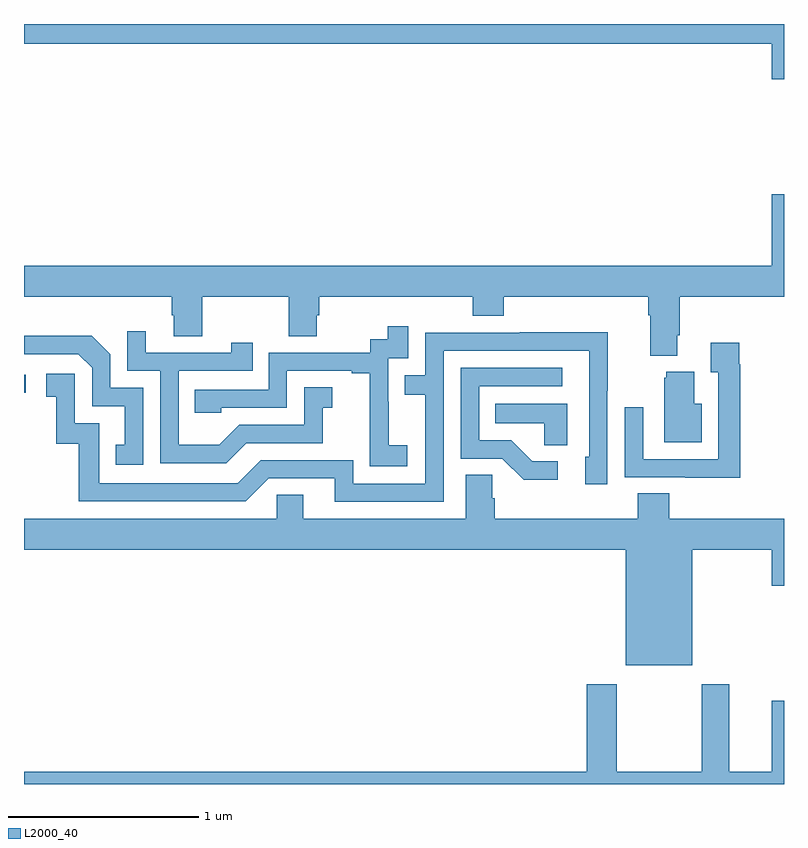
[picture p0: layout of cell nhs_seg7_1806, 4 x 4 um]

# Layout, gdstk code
import gdstk
lib = gdstk.Library(unit=1e-6, precision=1e-09)
def R(c, l, rs):  # rectangles x0, y0, x1, y1
    for r in rs: c.add(gdstk.rectangle(r[:2], r[2:], *l))
def P(c, l, *ps):  # polygons
    for p in ps: c.add(gdstk.Polygon(p, *l))
L2000_40 = (2000, 40)

nhs_seg7_1806 = lib.new_cell('nhs_seg7_1806')
R(nhs_seg7_1806, L2000_40, [(233,1052.058,233.008,1052.154)])
P(nhs_seg7_1806, L2000_40, [(237,1054),(233,1054),(233,1053.896),(236.936,1053.896),(236.936,1053.708),(237,1053.708)],
  [(236.437,1052.362),(236.45,1052.362),(236.45,1052.564),(237,1052.564),(237,1053.103),(236.936,1053.103),(236.936,1052.728),(233,1052.728),(233,1052.564),(233.777,1052.564),(233.777,1052.466),(233.789,1052.466),(233.789,1052.356),(233.937,1052.356),(233.937,1052.564),(234.394,1052.564),(234.394,1052.356),(234.541,1052.356),(234.541,1052.466),(234.554,1052.466),(234.554,1052.564),(235.361,1052.564),(235.361,1052.465),(235.526,1052.465),(235.526,1052.564),(236.285,1052.564),(236.285,1052.468),(236.297,1052.468),(236.297,1052.255),(236.437,1052.255)],
  [(235.018,1051.783),(234.92,1051.783),(234.92,1052.012),(234.918,1052.012),(234.918,1052.241),(235.023,1052.241),(235.023,1052.41),(234.915,1052.41),(234.915,1052.34),(234.822,1052.34),(234.822,1052.271),(234.288,1052.271),(234.288,1052.076),(233.899,1052.076),(233.899,1051.953),(234.039,1051.953),(234.039,1051.98),(234.384,1051.98),(234.384,1052.175),(234.725,1052.175),(234.725,1052.163),(234.821,1052.163),(234.821,1051.879),(234.82,1051.879),(234.82,1051.673),(235.018,1051.673)],
  [(234.169,1051.794),(234.573,1051.794),(234.573,1051.979),(234.622,1051.979),(234.622,1052.089),(234.474,1052.089),(234.474,1051.89),(234.132,1051.89),(234.028,1051.786),(233.814,1051.786),(233.814,1052.175),(234.203,1052.175),(234.203,1052.323),(234.092,1052.323),(234.092,1052.271),(233.641,1052.271),(233.641,1052.383),(233.544,1052.383),(233.544,1052.175),(233.718,1052.175),(233.718,1051.689),(234.064,1051.689)],
  [(235.209,1052.28),(235.974,1052.28),(235.974,1051.722),(235.955,1051.722),(235.955,1051.578),(236.07,1051.578),(236.07,1052.071),(236.073,1052.071),(236.073,1052.378),(235.609,1052.378),(235.609,1052.376),(235.113,1052.376),(235.113,1052.151),(235.003,1052.151),(235.003,1052.05),(235.113,1052.05),(235.113,1051.581),(234.732,1051.581),(234.732,1051.704),(234.246,1051.704),(234.126,1051.584),(233.397,1051.584),(233.397,1051.899),(233.268,1051.899),(233.268,1052.158),(233.118,1052.158),(233.118,1052.037),(233.171,1052.037),(233.171,1051.791),(233.289,1051.791),(233.289,1051.488),(234.168,1051.488),(234.288,1051.608),(234.635,1051.608),(234.635,1051.485),(235.209,1051.485)],
  [(233.628,1052.085),(233.454,1052.085),(233.454,1052.262),(233.356,1052.36),(233,1052.36),(233,1052.262),(233.286,1052.262),(233.358,1052.19),(233.358,1051.989),(233.531,1051.989),(233.531,1051.785),(233.482,1051.785),(233.482,1051.68),(233.628,1051.68)],
  [(236.771,1052.21),(236.764,1052.21),(236.764,1052.323),(236.615,1052.323),(236.615,1052.167),(236.655,1052.167),(236.655,1051.71),(236.259,1051.71),(236.259,1051.984),(236.163,1051.984),(236.163,1051.614),(236.479,1051.614),(236.479,1051.613),(236.771,1051.613)],
  [(235.81,1051.698),(235.675,1051.698),(235.564,1051.809),(235.395,1051.809),(235.395,1052.094),(235.834,1052.094),(235.834,1052.19),(235.299,1052.19),(235.299,1051.713),(235.518,1051.713),(235.631,1051.601),(235.81,1051.601)],
  [(236.566,1052.002),(236.527,1052.002),(236.527,1052.17),(236.381,1052.17),(236.381,1052.139),(236.369,1052.139),(236.369,1051.799),(236.566,1051.799)],
  [(235.858,1052.002),(235.48,1052.002),(235.48,1051.898),(235.737,1051.898),(235.737,1051.783),(235.858,1051.783)],
  [(236.518,1051.232),(236.936,1051.232),(236.936,1051.044),(237,1051.044),(237,1051.396),(236.396,1051.396),(236.396,1051.529),(236.231,1051.529),(236.231,1051.396),(235.478,1051.396),(235.478,1051.505),(235.464,1051.505),(235.464,1051.628),(235.325,1051.628),(235.325,1051.396),(234.469,1051.396),(234.469,1051.523),(234.33,1051.523),(234.33,1051.396),(233,1051.396),(233,1051.232),(236.168,1051.232),(236.168,1050.626),(236.518,1050.626)],
  [(237,1050.439),(236.936,1050.439),(236.936,1050.064),(236.713,1050.064),(236.713,1050.526),(236.566,1050.526),(236.566,1050.064),(236.121,1050.064),(236.121,1050.526),(235.961,1050.526),(235.961,1050.064),(233,1050.064),(233,1050),(237,1050)])

lib.write_gds('nhs_seg7_1806.gds')
